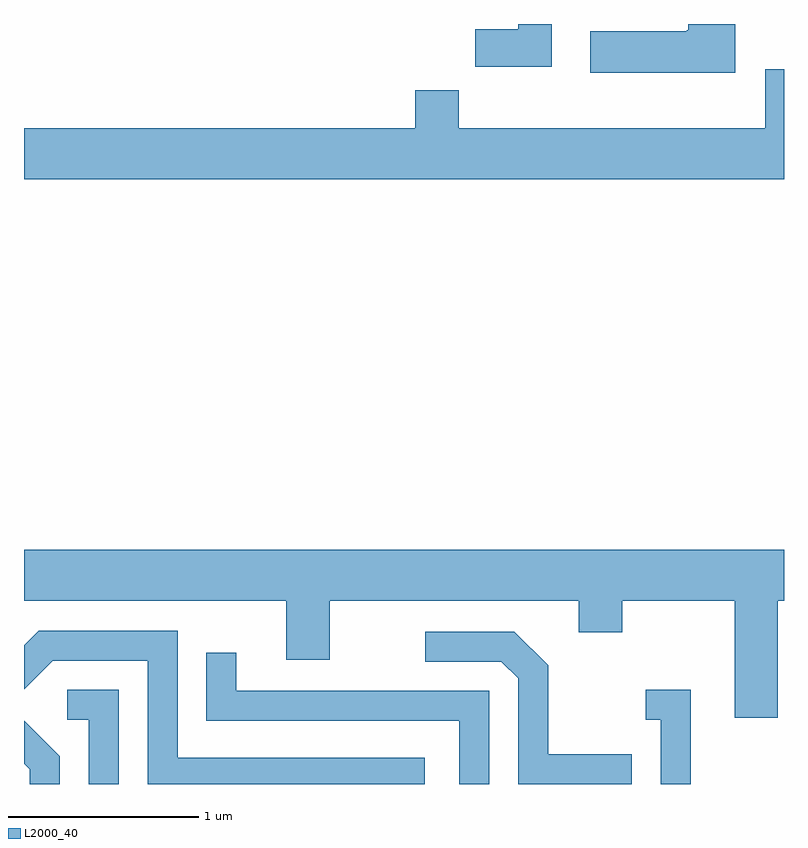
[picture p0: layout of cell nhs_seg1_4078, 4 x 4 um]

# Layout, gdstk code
import gdstk
lib = gdstk.Library(unit=1e-6, precision=1e-09)
def P(c, l, *ps):  # polygons
    for p in ps: c.add(gdstk.Polygon(p, *l))
L2000_40 = (2000, 40)

nhs_seg1_4078 = lib.new_cell('nhs_seg1_4078')
P(nhs_seg1_4078, L2000_40, [(311.354,913.712),(311.106,913.712),(311.106,913.68),(311.1,913.68),(311.1,913.674),(310.591,913.674),(310.591,913.456),(311.354,913.456)],
  [(310.389,913.712),(310.211,913.712),(310.211,913.684),(309.986,913.684),(309.986,913.486),(310.389,913.486)],
  [(311.611,913.474),(311.511,913.474),(311.511,913.164),(309.899,913.164),(309.899,913.364),(309.671,913.364),(309.671,913.164),(307.611,913.164),(307.611,912.896),(311.611,912.896)],
  [(311.579,910.676),(311.611,910.676),(311.611,910.944),(307.611,910.944),(307.611,910.676),(308.991,910.676),(308.991,910.366),(309.219,910.366),(309.219,910.676),(310.531,910.676),(310.531,910.511),(310.759,910.511),(310.759,910.676),(311.351,910.676),(311.351,910.061),(311.579,910.061)],
  [(309.719,909.849),(308.419,909.849),(308.419,910.519),(307.689,910.519),(307.611,910.441),(307.611,910.21),(307.762,910.361),(308.261,910.361),(308.261,909.712),(309.719,909.712)],
  [(310.809,909.869),(310.369,909.869),(310.369,910.337),(310.192,910.514),(309.723,910.514),(309.723,910.356),(310.124,910.356),(310.211,910.269),(310.211,909.712),(310.809,909.712)],
  [(310.059,910.204),(308.729,910.204),(308.729,910.403),(308.571,910.403),(308.571,910.046),(309.901,910.046),(309.901,909.712),(310.059,909.712)],
  [(308.109,910.209),(307.838,910.209),(307.838,910.051),(307.951,910.051),(307.951,909.712),(308.109,909.712)],
  [(311.119,910.209),(310.883,910.209),(310.883,910.051),(310.961,910.051),(310.961,909.712),(311.119,909.712)],
  [(307.799,909.857),(307.611,910.045),(307.611,909.819),(307.641,909.789),(307.641,909.712),(307.799,909.712)])

lib.write_gds('nhs_seg1_4078.gds')
